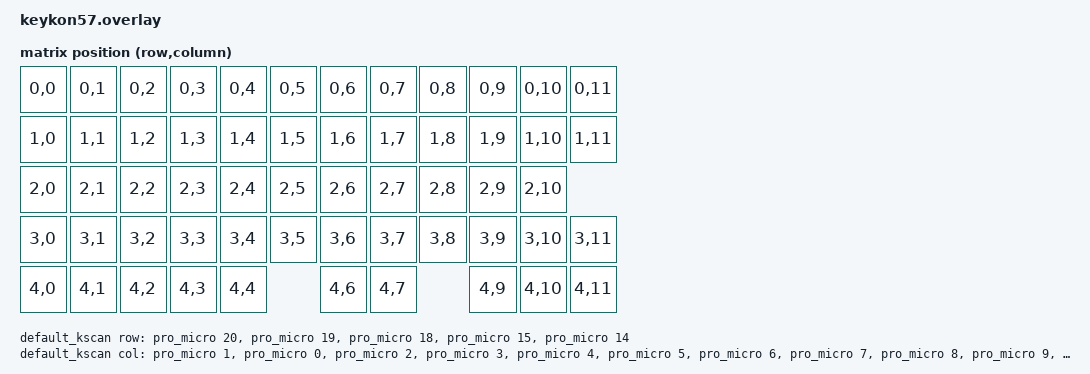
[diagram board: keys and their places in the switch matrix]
#include <dt-bindings/zmk/matrix_transform.h>
#include <zephyr/dt-bindings/input/input-event-codes.h>

&adc {
  status = "okay";
};

/ {
  chosen {
    zmk,kscan = &default_kscan;
    zmk,matrix_transform = &default_transform;
  };

  default_kscan: kscan {
    compatible = "zmk,kscan-gpio-matrix";
    label = "default_kscan";
    diode-direction = "col2row";

    row-gpios = <&pro_micro 20 (GPIO_ACTIVE_HIGH | GPIO_PULL_DOWN)>,
                <&pro_micro 19 (GPIO_ACTIVE_HIGH | GPIO_PULL_DOWN)>,
                <&pro_micro 18 (GPIO_ACTIVE_HIGH | GPIO_PULL_DOWN)>,
                <&pro_micro 15 (GPIO_ACTIVE_HIGH | GPIO_PULL_DOWN)>,
                <&pro_micro 14 (GPIO_ACTIVE_HIGH | GPIO_PULL_DOWN)>;
    col-gpios = <&pro_micro 1 GPIO_ACTIVE_HIGH>,
                <&pro_micro 0 GPIO_ACTIVE_HIGH>,
                <&pro_micro 2 GPIO_ACTIVE_HIGH>,
                <&pro_micro 3 GPIO_ACTIVE_HIGH>,
                <&pro_micro 4 GPIO_ACTIVE_HIGH>,
                <&pro_micro 5 GPIO_ACTIVE_HIGH>,
                <&pro_micro 6 GPIO_ACTIVE_HIGH>,
                <&pro_micro 7 GPIO_ACTIVE_HIGH>,
                <&pro_micro 8 GPIO_ACTIVE_HIGH>,
                <&pro_micro 9 GPIO_ACTIVE_HIGH>,
                <&pro_micro 10 GPIO_ACTIVE_HIGH>,
                <&pro_micro 16 GPIO_ACTIVE_HIGH>;
  };

  default_transform: matrix_transform {
    compatible = "zmk,matrix-transform";
    rows = <5>;
    columns = <12>;

    map = <
      RC(0,0) RC(0,1) RC(0,2) RC(0,3) RC(0,4) RC(0,5) RC(0,6) RC(0,7) RC(0,8) RC(0,9) RC(0,10) RC(0,11)
      RC(1,0) RC(1,1) RC(1,2) RC(1,3) RC(1,4) RC(1,5) RC(1,6) RC(1,7) RC(1,8) RC(1,9) RC(1,10) RC(1,11)
      RC(2,0) RC(2,1) RC(2,2) RC(2,3) RC(2,4) RC(2,5) RC(2,6) RC(2,7) RC(2,8) RC(2,9) RC(2,10)
      RC(3,0) RC(3,1) RC(3,2) RC(3,3) RC(3,4) RC(3,5) RC(3,6) RC(3,7) RC(3,8) RC(3,9) RC(3,10) RC(3,11)
      RC(4,0) RC(4,1) RC(4,2) RC(4,3) RC(4,4)         RC(4,6) RC(4,7)         RC(4,9) RC(4,10) RC(4,11)
    >;
  };

  anin0: analog_input_0 {
    compatible = "zmk,analog-input";
    sampling-hz = <100>;

    x-ch {
        io-channels = <&adc 4>;

        mv-mid = <1650>;
        mv-min-max = <1600>;
        mv-deadzone = <60>;

        scale-multiplier = <1>;
        scale-divisor = <70>;

        invert;

        evt-type = <INPUT_EV_REL>;
        input-code = <INPUT_REL_X>;
    };

    y-ch {
        io-channels = <&adc 5>;

        mv-mid = <1650>;
        mv-min-max = <1600>;
        mv-deadzone = <60>;

        scale-multiplier = <1>;
        scale-divisor = <70>;

        invert;

        evt-type = <INPUT_EV_REL>;
        input-code = <INPUT_REL_Y>;
    };
  };
};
